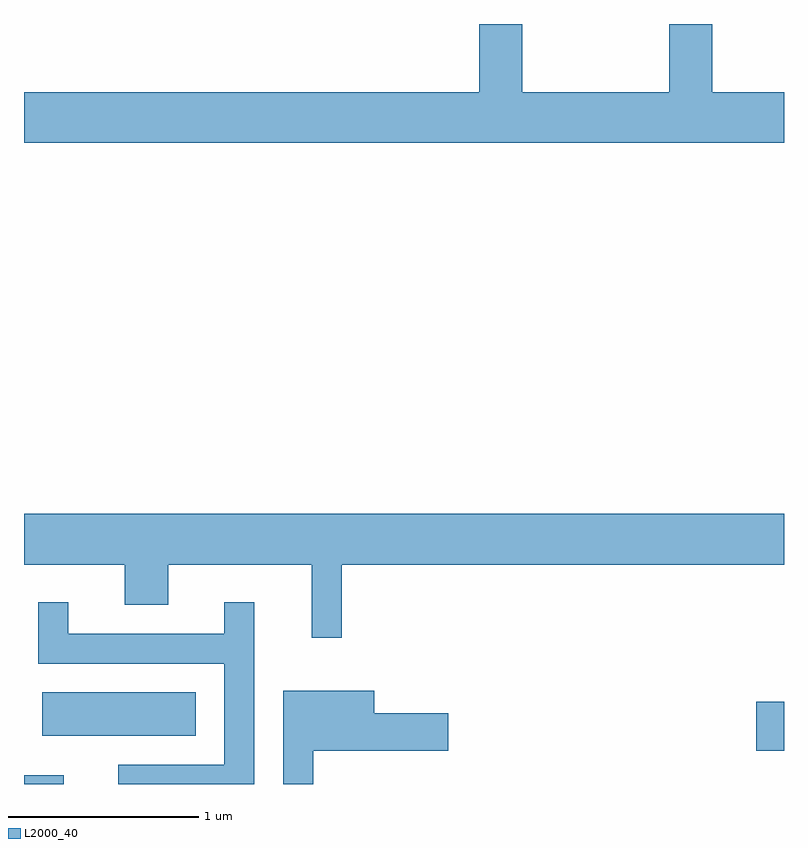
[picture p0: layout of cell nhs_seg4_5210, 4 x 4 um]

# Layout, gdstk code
import gdstk
lib = gdstk.Library(unit=1e-6, precision=1e-09)
def R(c, l, rs):  # rectangles x0, y0, x1, y1
    for r in rs: c.add(gdstk.rectangle(r[:2], r[2:], *l))
def P(c, l, *ps):  # polygons
    for p in ps: c.add(gdstk.Polygon(p, *l))
L2000_40 = (2000, 40)

nhs_seg4_5210 = lib.new_cell('nhs_seg4_5210')
R(nhs_seg4_5210, L2000_40, [(337.611,1337.982,337.819,1338.029), (341.466,1338.156,341.611,1338.414), (337.706,1338.236,338.514,1338.464)])
P(nhs_seg4_5210, L2000_40, [(341.611,1341.624),(341.234,1341.624),(341.234,1341.982),(341.006,1341.982),(341.006,1341.624),(340.234,1341.624),(340.234,1341.982),(340.006,1341.982),(340.006,1341.624),(337.611,1341.624),(337.611,1341.356),(341.611,1341.356)],
  [(339.284,1339.136),(341.611,1339.136),(341.611,1339.404),(337.611,1339.404),(337.611,1339.136),(338.141,1339.136),(338.141,1338.926),(338.369,1338.926),(338.369,1339.136),(339.126,1339.136),(339.126,1338.753),(339.284,1338.753)],
  [(338.824,1338.938),(338.666,1338.938),(338.666,1338.774),(337.844,1338.774),(337.844,1338.938),(337.686,1338.938),(337.686,1338.616),(338.666,1338.616),(338.666,1338.084),(338.106,1338.084),(338.106,1337.982),(338.824,1337.982)],
  [(339.134,1338.156),(339.844,1338.156),(339.844,1338.354),(339.454,1338.354),(339.454,1338.474),(338.976,1338.474),(338.976,1337.982),(339.134,1337.982)])

lib.write_gds('nhs_seg4_5210.gds')
